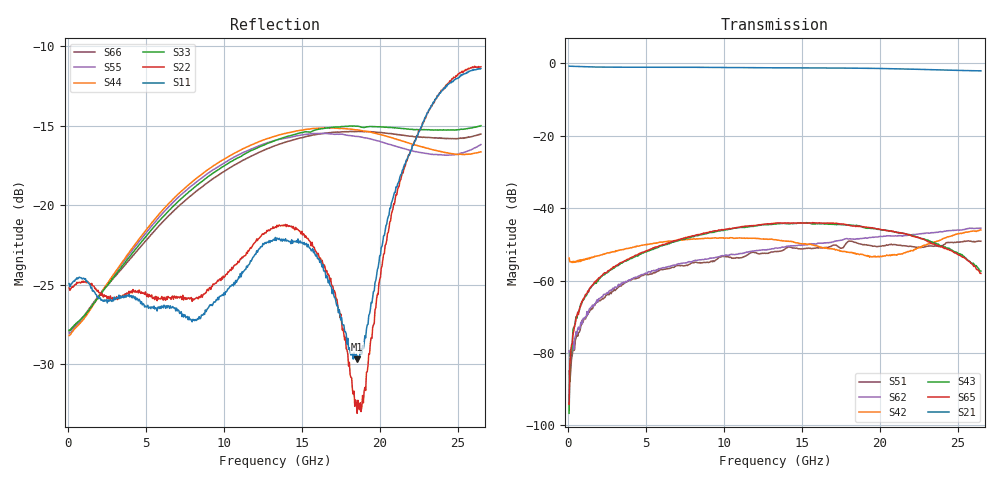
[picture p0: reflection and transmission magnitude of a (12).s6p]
! Device  : ADRF5060
! Description: Nonreflective RF Path Selector SP3T with Bypass, 100MHz to 20GHz
! Frequency:  100 MHz -  20 GHz
! Ports:
!  RFIN = Port 1
!  RFOUT = Port 2
!  OUTA = Port 3
!  OUTB = Port 4
!  INA = Port 5
!  INB = Port 6
! VSS  =  -3.30 Volts
! VDD  =  +3.30 Volts
! V1  =  0.00 Volts
! V2  =  0.00 Volts
! XC  =  0.00 Volts
! Data:  Data was collected using an calibrated 4 port network analyzer and combining into 6 port touchstone file.
! Notes: Analog Devices supplies this data as a sample of measured data
!  for this product.  Your particular data for this product may vary.
!  Analog Devices reserves the right to change this data at anytime.
# hz S db R 50
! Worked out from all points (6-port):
!   530 points, 50 MHz to 26.5 GHz, reference 50 ohm
!   strongest paths, dB at 50 MHz, 6.65 GHz, 13.3 GHz, 19.9 GHz, 26.5 GHz:
!     S21: -0.7, -1.0, -1.2, -1.4, -2.0
!     S65: -94.2, -49.3, -44.1, -45.7, -58.0
!     S43: -96.7, -49.4, -44.4, -45.9, -57.4
!     S42: -53.8, -49.1, -48.7, -53.3, -46.0
!     S62: -79.4, -55.9, -51.0, -48.0, -45.5
!     S51: -85.0, -56.4, -52.0, -50.6, -49.1
!   lowest |S11| = -29.7 dB at 18.55 GHz (marker M1), VSWR 1.07, Z = 51.3 + j3.07 ohm
!   |S11| at or under -10 dB: start of sweep to end of sweep
